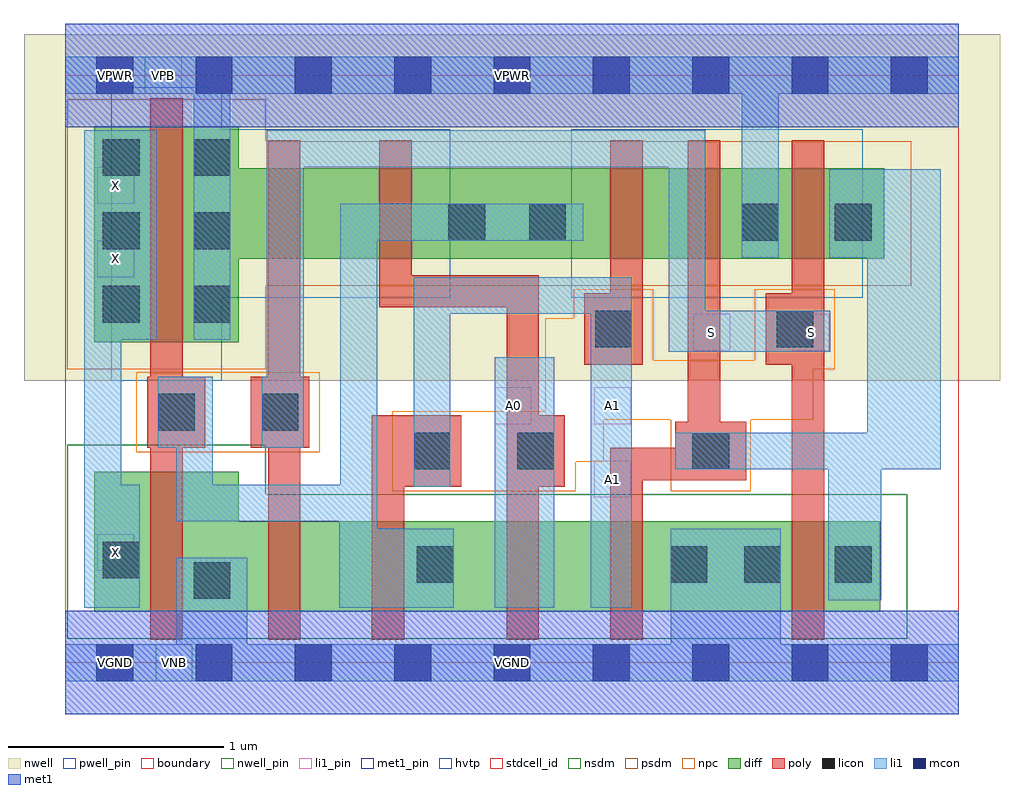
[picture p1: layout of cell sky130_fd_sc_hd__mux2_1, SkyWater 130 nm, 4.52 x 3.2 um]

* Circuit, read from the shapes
.subckt sky130_fd_sc_hd__mux2_1 A0 A1 S VGND VNB VPB VPWR X
XM1 VGND n1 X VNB sky130_fd_pr__nfet_01v8 w=0.65 l=0.15
XM2 n2 S VGND VNB sky130_fd_pr__nfet_01v8 w=0.42 l=0.15
XM3 n1 A1 n2 VNB sky130_fd_pr__nfet_01v8 w=0.42 l=0.15
XM4 n3 A0 n1 VNB sky130_fd_pr__nfet_01v8 w=0.42 l=0.15
XM5 VGND n4 n3 VNB sky130_fd_pr__nfet_01v8 w=0.42 l=0.15
XM6 n4 S VGND VNB sky130_fd_pr__nfet_01v8 w=0.42 l=0.15
XM7 VPWR n1 X VPB sky130_fd_pr__pfet_01v8_hvt w=1 l=0.15
XM8 n5 S VPWR VPB sky130_fd_pr__pfet_01v8_hvt w=0.42 l=0.15
XM9 n1 A0 n5 VPB sky130_fd_pr__pfet_01v8_hvt w=0.42 l=0.15
XM10 n6 A1 n1 VPB sky130_fd_pr__pfet_01v8_hvt w=0.42 l=0.15
XM11 VPWR n4 n6 VPB sky130_fd_pr__pfet_01v8_hvt w=0.42 l=0.15
XM12 n4 S VPWR VPB sky130_fd_pr__pfet_01v8_hvt w=0.42 l=0.15
.ends

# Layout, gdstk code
import gdstk
lib = gdstk.Library(unit=1e-6, precision=1e-09)
def R(c, l, rs):  # rectangles x0, y0, x1, y1
    for r in rs: c.add(gdstk.rectangle(r[:2], r[2:], *l))
nwell_pin = (64, 16)
nwell = (64, 20)
diff = (65, 20)
poly = (66, 20)
licon = (66, 44)
li1_pin = (67, 16)
li1 = (67, 20)
mcon = (67, 44)
met1_pin = (68, 16)
met1 = (68, 20)
hvtp = (78, 44)
stdcell_id = (81, 4)
nsdm = (93, 44)
psdm = (94, 20)
npc = (95, 20)
pwell_pin = (122, 16)
boundary = (235, 4)

sky130_fd_sc_hd__mux2_1 = lib.new_cell('sky130_fd_sc_hd__mux2_1')
R(sky130_fd_sc_hd__mux2_1, nwell_pin, [(0.37,2.635,0.54,2.805), (0.37,2.635,0.54,2.805)])
R(sky130_fd_sc_hd__mux2_1, nwell, [(-0.19,1.305,4.33,2.91), (-0.19,1.305,4.33,2.91)])
R(sky130_fd_sc_hd__mux2_1, diff, [(0.135,0.235,3.775,0.655), (0.135,0.235,3.775,0.655), (0.135,0.655,0.805,0.885), (0.135,0.655,0.805,0.885), (0.135,1.485,0.805,1.87), (0.135,1.485,0.805,1.87), (0.135,1.87,3.795,2.29), (0.135,1.87,3.795,2.29), (0.135,2.29,0.805,2.485), (0.135,2.29,0.805,2.485)])
R(sky130_fd_sc_hd__mux2_1, poly, [(0.395,0.105,0.545,0.995), (0.395,0.105,0.545,0.995), (0.94,0.105,1.09,0.995), (0.94,0.105,1.09,0.995), (1.42,0.105,1.57,0.815), (1.42,0.105,1.57,0.815), (2.045,0.105,2.195,0.815), (2.045,0.105,2.195,0.815), (2.525,0.105,2.675,0.845), (2.525,0.105,2.675,0.845), (3.365,0.105,3.515,1.38), (3.365,0.105,3.515,1.38), (1.42,0.815,1.835,1.145), (1.42,0.815,1.835,1.145), (2.045,0.815,2.315,1.145), (2.045,0.815,2.315,1.145), (2.525,0.845,3.155,0.995), (2.525,0.845,3.155,0.995), (0.38,0.995,0.65,1.325), (0.38,0.995,0.65,1.325), (0.86,0.995,1.13,1.325), (0.86,0.995,1.13,1.325), (2.825,0.995,3.155,1.115), (2.825,0.995,3.155,1.115), (2.885,1.115,3.035,2.42), (2.885,1.115,3.035,2.42), (2.045,1.145,2.195,1.645), (2.045,1.145,2.195,1.645), (0.395,1.325,0.545,2.615), (0.395,1.325,0.545,2.615), (0.94,1.325,1.09,2.42), (0.94,1.325,1.09,2.42), (2.405,1.38,2.675,1.71), (2.405,1.38,2.675,1.71), (3.245,1.38,3.515,1.71), (3.245,1.38,3.515,1.71), (1.455,1.645,2.195,1.795), (1.455,1.645,2.195,1.795), (2.525,1.71,2.675,2.42), (2.525,1.71,2.675,2.42), (3.365,1.71,3.515,2.42), (3.365,1.71,3.515,2.42), (1.455,1.795,1.605,2.42), (1.455,1.795,1.605,2.42)])
R(sky130_fd_sc_hd__mux2_1, licon, [(0.595,0.295,0.765,0.465), (0.595,0.295,0.765,0.465), (1.63,0.37,1.8,0.54), (1.63,0.37,1.8,0.54), (2.805,0.37,2.975,0.54), (2.805,0.37,2.975,0.54), (3.145,0.37,3.315,0.54), (3.145,0.37,3.315,0.54), (3.565,0.37,3.735,0.54), (3.565,0.37,3.735,0.54), (0.175,0.39,0.345,0.56), (0.175,0.39,0.345,0.56), (1.615,0.895,1.785,1.065), (1.615,0.895,1.785,1.065), (2.095,0.895,2.265,1.065), (2.095,0.895,2.265,1.065), (2.905,0.895,3.075,1.065), (2.905,0.895,3.075,1.065), (0.43,1.075,0.6,1.245), (0.43,1.075,0.6,1.245), (0.91,1.075,1.08,1.245), (0.91,1.075,1.08,1.245), (2.455,1.46,2.625,1.63), (2.455,1.46,2.625,1.63), (3.295,1.46,3.465,1.63), (3.295,1.46,3.465,1.63), (0.175,1.575,0.345,1.745), (0.175,1.575,0.345,1.745), (0.595,1.575,0.765,1.745), (0.595,1.575,0.765,1.745), (0.175,1.915,0.345,2.085), (0.175,1.915,0.345,2.085), (0.595,1.915,0.765,2.085), (0.595,1.915,0.765,2.085), (1.775,1.955,1.945,2.125), (1.775,1.955,1.945,2.125), (2.15,1.955,2.32,2.125), (2.15,1.955,2.32,2.125), (3.135,1.955,3.305,2.125), (3.135,1.955,3.305,2.125), (3.565,1.955,3.735,2.125), (3.565,1.955,3.735,2.125), (0.175,2.255,0.345,2.425), (0.175,2.255,0.345,2.425), (0.595,2.255,0.765,2.425), (0.595,2.255,0.765,2.425)])
R(sky130_fd_sc_hd__mux2_1, li1_pin, [(0.15,0.425,0.32,0.595), (0.15,0.425,0.32,0.595), (2.45,0.765,2.62,0.935), (2.45,0.765,2.62,0.935), (1.99,1.105,2.16,1.275), (1.99,1.105,2.16,1.275), (2.45,1.105,2.62,1.275), (2.45,1.105,2.62,1.275), (2.91,1.445,3.08,1.615), (2.91,1.445,3.08,1.615), (3.37,1.445,3.54,1.615), (3.37,1.445,3.54,1.615), (0.15,1.785,0.32,1.955), (0.15,1.785,0.32,1.955), (0.15,2.125,0.32,2.295), (0.15,2.125,0.32,2.295)])
R(sky130_fd_sc_hd__mux2_1, li1, [(0,-0.085,4.14,0.085), (0,-0.085,4.14,0.085), (0.515,0.085,0.845,0.485), (0.515,0.085,0.845,0.485), (2.805,0.085,3.315,0.62), (2.805,0.085,3.315,0.62), (0.09,0.255,0.345,0.825), (0.09,0.255,0.345,0.825), (1.27,0.255,1.8,0.62), (1.27,0.255,1.8,0.62), (1.99,0.255,2.265,1.415), (1.99,0.255,2.265,1.415), (2.435,0.255,2.625,1.615), (2.435,0.255,2.625,1.615), (3.535,0.29,3.78,0.895), (3.535,0.29,3.78,0.895), (1.27,0.62,1.445,0.655), (1.27,0.62,1.445,0.655), (0.515,0.655,1.445,0.825), (0.515,0.655,1.445,0.825), (1.615,0.815,1.785,1.615), (1.615,0.815,1.785,1.615), (0.09,0.825,0.26,1.495), (0.09,0.825,0.26,1.495), (0.515,0.825,0.685,0.995), (0.515,0.825,0.685,0.995), (1.275,0.825,1.445,1.955), (1.275,0.825,1.445,1.955), (2.825,0.895,4.055,1.065), (2.825,0.895,4.055,1.065), (0.43,0.995,0.685,1.325), (0.43,0.995,0.685,1.325), (0.91,0.995,1.105,1.325), (0.91,0.995,1.105,1.325), (3.715,1.065,4.055,1.875), (3.715,1.065,4.055,1.875), (0.935,1.325,1.105,2.295), (0.935,1.325,1.105,2.295), (2.795,1.44,3.545,1.63), (2.795,1.44,3.545,1.63), (0.09,1.495,0.425,2.465), (0.09,1.495,0.425,2.465), (0.595,1.495,0.765,2.635), (0.595,1.495,0.765,2.635), (1.615,1.615,2.625,1.785), (1.615,1.615,2.625,1.785), (2.795,1.63,2.965,2.295), (2.795,1.63,2.965,2.295), (3.135,1.875,3.305,2.635), (3.135,1.875,3.305,2.635), (3.54,1.875,4.055,2.285), (3.54,1.875,4.055,2.285), (1.275,1.955,2.4,2.125), (1.275,1.955,2.4,2.125), (0.935,2.295,2.965,2.465), (0.935,2.295,2.965,2.465), (0,2.635,4.14,2.805), (0,2.635,4.14,2.805)])
R(sky130_fd_sc_hd__mux2_1, mcon, [(0.145,-0.085,0.315,0.085), (0.145,-0.085,0.315,0.085), (0.605,-0.085,0.775,0.085), (0.605,-0.085,0.775,0.085), (1.065,-0.085,1.235,0.085), (1.065,-0.085,1.235,0.085), (1.525,-0.085,1.695,0.085), (1.525,-0.085,1.695,0.085), (1.985,-0.085,2.155,0.085), (1.985,-0.085,2.155,0.085), (2.445,-0.085,2.615,0.085), (2.445,-0.085,2.615,0.085), (2.905,-0.085,3.075,0.085), (2.905,-0.085,3.075,0.085), (3.365,-0.085,3.535,0.085), (3.365,-0.085,3.535,0.085), (3.825,-0.085,3.995,0.085), (3.825,-0.085,3.995,0.085), (0.145,2.635,0.315,2.805), (0.145,2.635,0.315,2.805), (0.605,2.635,0.775,2.805), (0.605,2.635,0.775,2.805), (1.065,2.635,1.235,2.805), (1.065,2.635,1.235,2.805), (1.525,2.635,1.695,2.805), (1.525,2.635,1.695,2.805), (1.985,2.635,2.155,2.805), (1.985,2.635,2.155,2.805), (2.445,2.635,2.615,2.805), (2.445,2.635,2.615,2.805), (2.905,2.635,3.075,2.805), (2.905,2.635,3.075,2.805), (3.365,2.635,3.535,2.805), (3.365,2.635,3.535,2.805), (3.825,2.635,3.995,2.805), (3.825,2.635,3.995,2.805)])
R(sky130_fd_sc_hd__mux2_1, met1_pin, [(0,-0.24,4.14,0.24), (0,-0.24,4.14,0.24), (0.15,-0.085,0.32,0.085), (0.15,-0.085,0.32,0.085), (0,2.48,4.14,2.96), (0,2.48,4.14,2.96), (0.15,2.635,0.32,2.805), (0.15,2.635,0.32,2.805)])
R(sky130_fd_sc_hd__mux2_1, met1, [(0,-0.24,4.14,0.24), (0,-0.24,4.14,0.24), (0,2.48,4.14,2.96), (0,2.48,4.14,2.96)])
R(sky130_fd_sc_hd__mux2_1, hvtp, [(0.215,1.305,0.725,1.69), (0.215,1.305,0.725,1.69), (0.215,1.69,1.785,2.47), (0.215,1.69,1.785,2.47), (2.345,1.69,3.695,2.47), (2.345,1.69,3.695,2.47), (0.215,2.47,0.725,2.665), (0.215,2.47,0.725,2.665)])
R(sky130_fd_sc_hd__mux2_1, stdcell_id, [(0,0,4.14,2.72), (0,0,4.14,2.72)])
R(sky130_fd_sc_hd__mux2_1, nsdm, [(0.01,0.11,3.9,0.78), (0.01,0.11,3.9,0.78), (0.01,0.78,0.93,1.01), (0.01,0.78,0.93,1.01)])
R(sky130_fd_sc_hd__mux2_1, psdm, [(0.01,1.36,0.93,1.745), (0.01,1.36,0.93,1.745), (0.01,1.745,3.92,2.415), (0.01,1.745,3.92,2.415), (0.01,2.415,0.93,2.61), (0.01,2.415,0.93,2.61)])
R(sky130_fd_sc_hd__mux2_1, npc, [(1.515,0.795,2.365,0.93), (1.515,0.795,2.365,0.93), (2.805,0.795,3.175,1.125), (2.805,0.795,3.175,1.125), (1.515,0.93,2.495,1.125), (1.515,0.93,2.495,1.125), (0.33,0.975,1.18,1.345), (0.33,0.975,1.18,1.345), (1.515,1.125,3.465,1.165), (1.515,1.125,3.465,1.165), (2.225,1.165,3.465,1.36), (2.225,1.165,3.465,1.36), (2.225,1.36,3.565,1.4), (2.225,1.36,3.565,1.4), (2.225,1.4,2.725,1.595), (2.225,1.4,2.725,1.595), (3.195,1.4,3.565,1.73), (3.195,1.4,3.565,1.73), (2.355,1.595,2.725,1.73), (2.355,1.595,2.725,1.73)])
R(sky130_fd_sc_hd__mux2_1, pwell_pin, [(0.42,-0.085,0.59,0.085), (0.42,-0.085,0.59,0.085)])
R(sky130_fd_sc_hd__mux2_1, boundary, [(0,0,4.14,2.72), (0,0,4.14,2.72)])
sky130_fd_sc_hd__mux2_1.add(gdstk.Label('A0', (2.075,1.19), layer=67, texttype=5))
sky130_fd_sc_hd__mux2_1.add(gdstk.Label('A1', (2.535,1.19), layer=67, texttype=5))
sky130_fd_sc_hd__mux2_1.add(gdstk.Label('A1', (2.535,0.85), layer=67, texttype=5))
sky130_fd_sc_hd__mux2_1.add(gdstk.Label('S', (2.995,1.53), layer=67, texttype=5))
sky130_fd_sc_hd__mux2_1.add(gdstk.Label('S', (3.455,1.53), layer=67, texttype=5))
sky130_fd_sc_hd__mux2_1.add(gdstk.Label('VGND', (2.07,0), layer=68, texttype=5))
sky130_fd_sc_hd__mux2_1.add(gdstk.Label('VGND', (0.235,0), layer=68, texttype=5))
sky130_fd_sc_hd__mux2_1.add(gdstk.Label('VNB', (0.505,0), layer=64, texttype=59))
sky130_fd_sc_hd__mux2_1.add(gdstk.Label('VPB', (0.455,2.72), layer=64, texttype=5))
sky130_fd_sc_hd__mux2_1.add(gdstk.Label('VPWR', (2.07,2.72), layer=68, texttype=5))
sky130_fd_sc_hd__mux2_1.add(gdstk.Label('VPWR', (0.235,2.72), layer=68, texttype=5))
sky130_fd_sc_hd__mux2_1.add(gdstk.Label('X', (0.235,2.21), layer=67, texttype=5))
sky130_fd_sc_hd__mux2_1.add(gdstk.Label('X', (0.235,1.87), layer=67, texttype=5))
sky130_fd_sc_hd__mux2_1.add(gdstk.Label('X', (0.235,0.51), layer=67, texttype=5))
sky130_fd_sc_hd__mux2_1.add(gdstk.Label('A0', (2.075,1.19), layer=67, texttype=5))
sky130_fd_sc_hd__mux2_1.add(gdstk.Label('A1', (2.535,1.19), layer=67, texttype=5))
sky130_fd_sc_hd__mux2_1.add(gdstk.Label('A1', (2.535,0.85), layer=67, texttype=5))
sky130_fd_sc_hd__mux2_1.add(gdstk.Label('S', (2.995,1.53), layer=67, texttype=5))
sky130_fd_sc_hd__mux2_1.add(gdstk.Label('S', (3.455,1.53), layer=67, texttype=5))
sky130_fd_sc_hd__mux2_1.add(gdstk.Label('VGND', (2.07,0), layer=68, texttype=5))
sky130_fd_sc_hd__mux2_1.add(gdstk.Label('VGND', (0.235,0), layer=68, texttype=5))
sky130_fd_sc_hd__mux2_1.add(gdstk.Label('VNB', (0.505,0), layer=64, texttype=59))
sky130_fd_sc_hd__mux2_1.add(gdstk.Label('VPB', (0.455,2.72), layer=64, texttype=5))
sky130_fd_sc_hd__mux2_1.add(gdstk.Label('VPWR', (2.07,2.72), layer=68, texttype=5))
sky130_fd_sc_hd__mux2_1.add(gdstk.Label('VPWR', (0.235,2.72), layer=68, texttype=5))
sky130_fd_sc_hd__mux2_1.add(gdstk.Label('X', (0.235,2.21), layer=67, texttype=5))
sky130_fd_sc_hd__mux2_1.add(gdstk.Label('X', (0.235,1.87), layer=67, texttype=5))
sky130_fd_sc_hd__mux2_1.add(gdstk.Label('X', (0.235,0.51), layer=67, texttype=5))

lib.write_gds('sky130_fd_sc_hd__mux2_1.gds')
